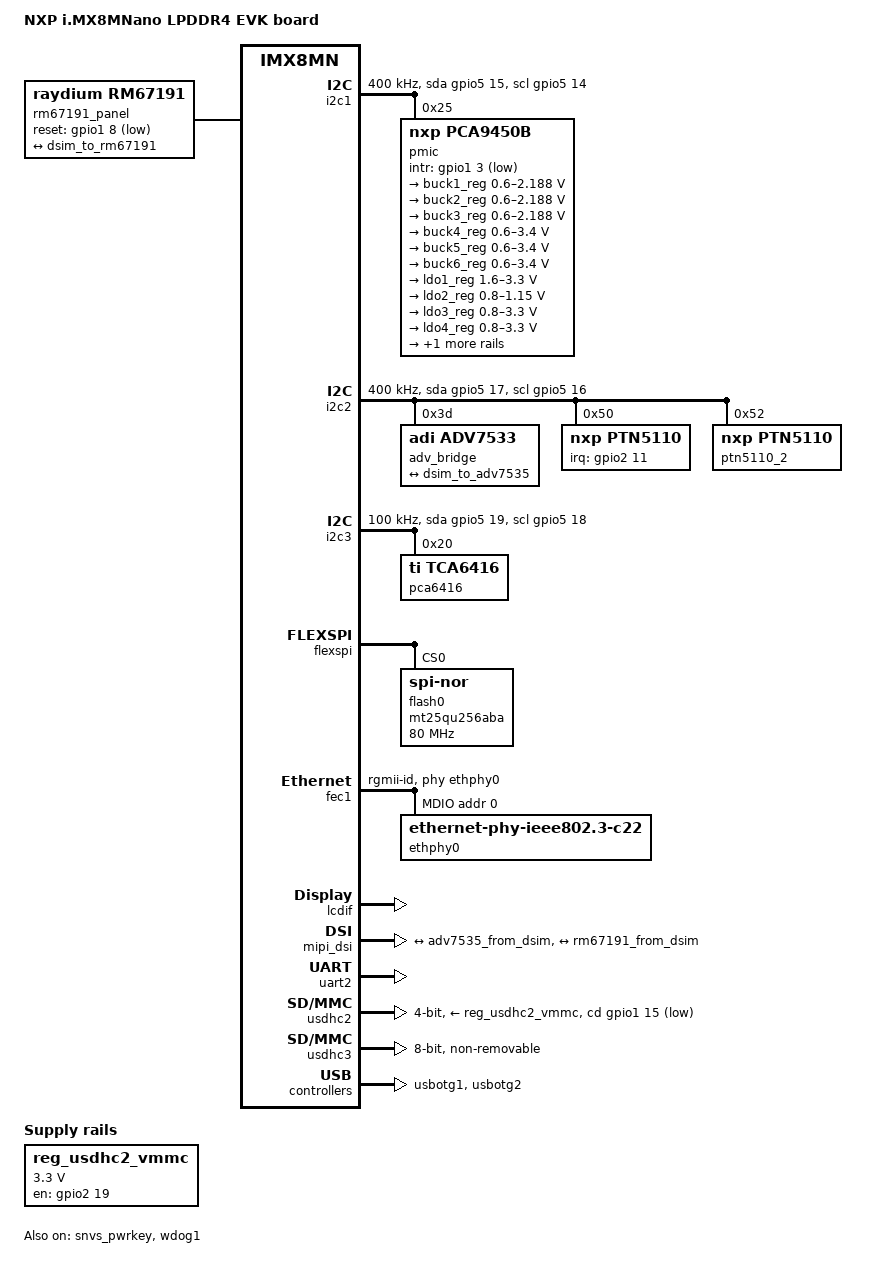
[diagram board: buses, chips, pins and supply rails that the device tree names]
// SPDX-License-Identifier: GPL-2.0+
/*
 * Copyright 2019 NXP
 */

/dts-v1/;

#include <dt-bindings/usb/pd.h>
#include "imx8mn.dtsi"

/ {
	model = "NXP i.MX8MNano LPDDR4 EVK board";
	compatible = "fsl,imx8mn-evk", "fsl,imx8mn";

	chosen {
		bootargs = "console=ttymxc1,115200 earlycon=ec_imx6q,0x30890000,115200";
		stdout-path = &uart2;
	};

	reg_usdhc2_vmmc: regulator-usdhc2 {
		compatible = "regulator-fixed";
		pinctrl-names = "default";
		pinctrl-0 = <&pinctrl_reg_usdhc2_vmmc>;
		regulator-name = "VSD_3V3";
		regulator-min-microvolt = <3300000>;
		regulator-max-microvolt = <3300000>;
		gpio = <&gpio2 19 GPIO_ACTIVE_HIGH>;
		enable-active-high;
		startup-delay-us = <100>;
		off-on-delay-us = <12000>;
	};

	dsi_host: dsi-host {
		compatible = "samsung,sec-mipi-dsi";
		status = "okay";
	};

	rm67191_panel {
		compatible = "raydium,rm67191";
		pinctrl-names = "default";
		pinctrl-0 = <&pinctrl_mipi_dsi_en>;
		reset-gpio = <&gpio1 8 GPIO_ACTIVE_LOW>;
		dsi-lanes = <4>;
		video-mode = <2>;	/* 0: burst mode
					 * 1: non-burst mode with sync event
					 * 2: non-burst mode with sync pulse
					 */
		panel-width-mm = <68>;
		panel-height-mm = <121>;
		status = "okay";

		port {
			rm67191_from_dsim: endpoint {
				remote-endpoint = <&dsim_to_rm67191>;
			};
		};
	};
};

&iomuxc {
	pinctrl-names = "default";
	pinctrl-0 = <&pinctrl_hog_1>;

	imx8mn-evk {
		pinctrl_hog_1: hoggrp-1 {
			fsl,pins = <
				MX8MN_IOMUXC_GPIO1_IO08_GPIO1_IO8		0x16
			>;
		};

		pinctrl_fec1: fec1grp {
			fsl,pins = <
				MX8MN_IOMUXC_ENET_MDC_ENET1_MDC		0x3
				MX8MN_IOMUXC_ENET_MDIO_ENET1_MDIO	0x3
				MX8MN_IOMUXC_ENET_TD3_ENET1_RGMII_TD3	0x1f
				MX8MN_IOMUXC_ENET_TD2_ENET1_RGMII_TD2	0x1f
				MX8MN_IOMUXC_ENET_TD1_ENET1_RGMII_TD1	0x1f
				MX8MN_IOMUXC_ENET_TD0_ENET1_RGMII_TD0	0x1f
				MX8MN_IOMUXC_ENET_RD3_ENET1_RGMII_RD3	0x91
				MX8MN_IOMUXC_ENET_RD2_ENET1_RGMII_RD2	0x91
				MX8MN_IOMUXC_ENET_RD1_ENET1_RGMII_RD1	0x91
				MX8MN_IOMUXC_ENET_RD0_ENET1_RGMII_RD0	0x91
				MX8MN_IOMUXC_ENET_TXC_ENET1_RGMII_TXC	0x1f
				MX8MN_IOMUXC_ENET_RXC_ENET1_RGMII_RXC	0x91
				MX8MN_IOMUXC_ENET_RX_CTL_ENET1_RGMII_RX_CTL	0x91
				MX8MN_IOMUXC_ENET_TX_CTL_ENET1_RGMII_TX_CTL	0x1f
				MX8MN_IOMUXC_SAI2_RXC_GPIO4_IO22	0x19
			>;
		};

		pinctrl_flexspi0: flexspi0grp {
			fsl,pins = <
				MX8MN_IOMUXC_NAND_ALE_QSPI_A_SCLK 0x1c4
				MX8MN_IOMUXC_NAND_CE0_B_QSPI_A_SS0_B 0x84

				MX8MN_IOMUXC_NAND_DQS_QSPI_A_DQS 0x40000084
				MX8MN_IOMUXC_NAND_DATA00_QSPI_A_DATA0 0x84
				MX8MN_IOMUXC_NAND_DATA01_QSPI_A_DATA1 0x84
				MX8MN_IOMUXC_NAND_DATA02_QSPI_A_DATA2 0x84
				MX8MN_IOMUXC_NAND_DATA03_QSPI_A_DATA3 0x84
			>;
		};

		pinctrl_i2c1: i2c1grp {
			fsl,pins = <
				MX8MN_IOMUXC_I2C1_SCL_I2C1_SCL			0x400001c3
				MX8MN_IOMUXC_I2C1_SDA_I2C1_SDA			0x400001c3
			>;
		};

		pinctrl_i2c2: i2c2grp {
			fsl,pins = <
				MX8MN_IOMUXC_I2C2_SCL_I2C2_SCL			0x400001c3
				MX8MN_IOMUXC_I2C2_SDA_I2C2_SDA			0x400001c3
			>;
		};

		pinctrl_i2c3: i2c3grp {
			fsl,pins = <
				MX8MN_IOMUXC_I2C3_SCL_I2C3_SCL			0x400001c3
				MX8MN_IOMUXC_I2C3_SDA_I2C3_SDA			0x400001c3
			>;
		};

		pinctrl_i2c1_gpio: i2c1grp-gpio {
			fsl,pins = <
				MX8MN_IOMUXC_I2C1_SCL_GPIO5_IO14		0x1c3
				MX8MN_IOMUXC_I2C1_SDA_GPIO5_IO15		0x1c3
			>;
		};

		pinctrl_i2c2_gpio: i2c2grp-gpio {
			fsl,pins = <
				MX8MN_IOMUXC_I2C2_SCL_GPIO5_IO16		0x1c3
				MX8MN_IOMUXC_I2C2_SDA_GPIO5_IO17		0x1c3
			>;
		};

		pinctrl_i2c3_gpio: i2c3grp-gpio {
			fsl,pins = <
				MX8MN_IOMUXC_I2C3_SCL_GPIO5_IO18		0x1c3
				MX8MN_IOMUXC_I2C3_SDA_GPIO5_IO19		0x1c3
			>;
		};

		pinctrl_pmic: pmicirq {
			fsl,pins = <
				MX8MN_IOMUXC_GPIO1_IO03_GPIO1_IO3	0x41
			>;
		};
		
		pinctrl_reg_usdhc2_vmmc: regusdhc2vmmc {
			fsl,pins = <
				MX8MN_IOMUXC_SD2_RESET_B_GPIO2_IO19	0x41
			>;
		};

		pinctrl_uart2: uart1grp {
			fsl,pins = <
				MX8MN_IOMUXC_UART2_RXD_UART2_DCE_RX	0x140
				MX8MN_IOMUXC_UART2_TXD_UART2_DCE_TX	0x140
			>;
		};

		pinctrl_typec1: typec1grp {
			fsl,pins = <
				MX8MN_IOMUXC_SD1_STROBE_GPIO2_IO11		0x159
			>;
		};
		
		pinctrl_usdhc2_gpio: usdhc2grpgpio {
			fsl,pins = <
				MX8MN_IOMUXC_GPIO1_IO15_GPIO1_IO15	0x1c4
			>;
		};

		pinctrl_usdhc2: usdhc2grp {
			fsl,pins = <
				MX8MN_IOMUXC_SD2_CLK_USDHC2_CLK		0x190
				MX8MN_IOMUXC_SD2_CMD_USDHC2_CMD		0x1d0
				MX8MN_IOMUXC_SD2_DATA0_USDHC2_DATA0	0x1d0
				MX8MN_IOMUXC_SD2_DATA1_USDHC2_DATA1	0x1d0
				MX8MN_IOMUXC_SD2_DATA2_USDHC2_DATA2	0x1d0
				MX8MN_IOMUXC_SD2_DATA3_USDHC2_DATA3	0x1d0
				MX8MN_IOMUXC_GPIO1_IO04_USDHC2_VSELECT	0x1d0
			>;
		};

		pinctrl_usdhc2_100mhz: usdhc2grp100mhz {
			fsl,pins = <
				MX8MN_IOMUXC_SD2_CLK_USDHC2_CLK		0x194
				MX8MN_IOMUXC_SD2_CMD_USDHC2_CMD		0x1d4
				MX8MN_IOMUXC_SD2_DATA0_USDHC2_DATA0	0x1d4
				MX8MN_IOMUXC_SD2_DATA1_USDHC2_DATA1	0x1d4
				MX8MN_IOMUXC_SD2_DATA2_USDHC2_DATA2	0x1d4
				MX8MN_IOMUXC_SD2_DATA3_USDHC2_DATA3	0x1d4
				MX8MN_IOMUXC_GPIO1_IO04_USDHC2_VSELECT	0x1d0
			>;
		};

		pinctrl_usdhc2_200mhz: usdhc2grp200mhz {
			fsl,pins = <
				MX8MN_IOMUXC_SD2_CLK_USDHC2_CLK		0x196
				MX8MN_IOMUXC_SD2_CMD_USDHC2_CMD		0x1d6
				MX8MN_IOMUXC_SD2_DATA0_USDHC2_DATA0	0x1d6
				MX8MN_IOMUXC_SD2_DATA1_USDHC2_DATA1	0x1d6
				MX8MN_IOMUXC_SD2_DATA2_USDHC2_DATA2	0x1d6
				MX8MN_IOMUXC_SD2_DATA3_USDHC2_DATA3	0x1d6
				MX8MN_IOMUXC_GPIO1_IO04_USDHC2_VSELECT	0x1d0
			>;
		};

		pinctrl_usdhc3: usdhc3grp {
			fsl,pins = <
				MX8MN_IOMUXC_NAND_WE_B_USDHC3_CLK		0x40000190
				MX8MN_IOMUXC_NAND_WP_B_USDHC3_CMD		0x1d0
				MX8MN_IOMUXC_NAND_DATA04_USDHC3_DATA0		0x1d0
				MX8MN_IOMUXC_NAND_DATA05_USDHC3_DATA1		0x1d0
				MX8MN_IOMUXC_NAND_DATA06_USDHC3_DATA2		0x1d0
				MX8MN_IOMUXC_NAND_DATA07_USDHC3_DATA3		0x1d0
				MX8MN_IOMUXC_NAND_RE_B_USDHC3_DATA4		0x1d0
				MX8MN_IOMUXC_NAND_CE2_B_USDHC3_DATA5		0x1d0
				MX8MN_IOMUXC_NAND_CE3_B_USDHC3_DATA6		0x1d0
				MX8MN_IOMUXC_NAND_CLE_USDHC3_DATA7		0x1d0
				MX8MN_IOMUXC_NAND_CE1_B_USDHC3_STROBE 		0x190
			>;
		};

		pinctrl_usdhc3_100mhz: usdhc3grp100mhz {
			fsl,pins = <
				MX8MN_IOMUXC_NAND_WE_B_USDHC3_CLK		0x40000194
				MX8MN_IOMUXC_NAND_WP_B_USDHC3_CMD		0x1d4
				MX8MN_IOMUXC_NAND_DATA04_USDHC3_DATA0		0x1d4
				MX8MN_IOMUXC_NAND_DATA05_USDHC3_DATA1		0x1d4
				MX8MN_IOMUXC_NAND_DATA06_USDHC3_DATA2		0x1d4
				MX8MN_IOMUXC_NAND_DATA07_USDHC3_DATA3		0x1d4
				MX8MN_IOMUXC_NAND_RE_B_USDHC3_DATA4		0x1d4
				MX8MN_IOMUXC_NAND_CE2_B_USDHC3_DATA5		0x1d4
				MX8MN_IOMUXC_NAND_CE3_B_USDHC3_DATA6		0x1d4
				MX8MN_IOMUXC_NAND_CLE_USDHC3_DATA7		0x1d4
				MX8MN_IOMUXC_NAND_CE1_B_USDHC3_STROBE 		0x194
			>;
		};

		pinctrl_usdhc3_200mhz: usdhc3grp200mhz {
			fsl,pins = <
				MX8MN_IOMUXC_NAND_WE_B_USDHC3_CLK		0x40000196
				MX8MN_IOMUXC_NAND_WP_B_USDHC3_CMD		0x1d6
				MX8MN_IOMUXC_NAND_DATA04_USDHC3_DATA0		0x1d6
				MX8MN_IOMUXC_NAND_DATA05_USDHC3_DATA1		0x1d6
				MX8MN_IOMUXC_NAND_DATA06_USDHC3_DATA2		0x1d6
				MX8MN_IOMUXC_NAND_DATA07_USDHC3_DATA3		0x1d6
				MX8MN_IOMUXC_NAND_RE_B_USDHC3_DATA4		0x1d6
				MX8MN_IOMUXC_NAND_CE2_B_USDHC3_DATA5		0x1d6
				MX8MN_IOMUXC_NAND_CE3_B_USDHC3_DATA6		0x1d6
				MX8MN_IOMUXC_NAND_CLE_USDHC3_DATA7		0x1d6
				MX8MN_IOMUXC_NAND_CE1_B_USDHC3_STROBE 		0x196
			>;
		};

		pinctrl_wdog: wdoggrp {
			fsl,pins = <
				MX8MN_IOMUXC_GPIO1_IO02_WDOG1_WDOG_B		0xc6
			>;
		};

		pinctrl_mipi_dsi_en: mipi_dsi_en {
			fsl,pins = <
				MX8MN_IOMUXC_GPIO1_IO08_GPIO1_IO8		0x16
			>;
		};
	};
};

&i2c1 {
	clock-frequency = <400000>;
	pinctrl-names = "default", "gpio";
	pinctrl-0 = <&pinctrl_i2c1>;
	pinctrl-1 = <&pinctrl_i2c1_gpio>;
	scl-gpios = <&gpio5 14 GPIO_ACTIVE_HIGH>;
	sda-gpios = <&gpio5 15 GPIO_ACTIVE_HIGH>;
	status = "okay";

	pmic: pca9450@25 {
		reg = <0x25>;
		compatible = "nxp,pca9450b";
		/* PMIC PCA9450 PMIC_nINT GPIO1_IO3 */
		pinctrl-0 = <&pinctrl_pmic>;
		gpio_intr = <&gpio1 3 GPIO_ACTIVE_LOW>;

		regulators {
			#address-cells = <1>;
			#size-cells = <0>;

			pca9450,pmic-buck2-uses-i2c-dvs;
			/* Run/Standby voltage */
			pca9450,pmic-buck2-dvs-voltage = <950000>, <850000>;

			buck1_reg: regulator@0 {
				reg = <0>;
				regulator-compatible = "buck1";
				regulator-min-microvolt = <600000>;
				regulator-max-microvolt = <2187500>;
				regulator-boot-on;
				regulator-always-on;
				regulator-ramp-delay = <3125>;
			};

			buck2_reg: regulator@1 {
				reg = <1>;
				regulator-compatible = "buck2";
				regulator-min-microvolt = <600000>;
				regulator-max-microvolt = <2187500>;
				regulator-boot-on;
				regulator-always-on;
				regulator-ramp-delay = <3125>;
			};

			buck3_reg: regulator@2 {
				reg = <2>;
				regulator-compatible = "buck3";
				regulator-min-microvolt = <600000>;
				regulator-max-microvolt = <2187500>;
				regulator-boot-on;
				regulator-always-on;
			};

			buck4_reg: regulator@3 {
				reg = <3>;
				regulator-compatible = "buck4";
				regulator-min-microvolt = <600000>;
				regulator-max-microvolt = <3400000>;
				regulator-boot-on;
				regulator-always-on;
			};

			buck5_reg: regulator@4 {
				reg = <4>;
				regulator-compatible = "buck5";
				regulator-min-microvolt = <600000>;
				regulator-max-microvolt = <3400000>;
				regulator-boot-on;
				regulator-always-on;
			};

			buck6_reg: regulator@5 {
				reg = <5>;
				regulator-compatible = "buck6";
				regulator-min-microvolt = <600000>;
				regulator-max-microvolt = <3400000>;
				regulator-boot-on;
				regulator-always-on;
			};

			ldo1_reg: regulator@6 {
				reg = <6>;
				regulator-compatible = "ldo1";
				regulator-min-microvolt = <1600000>;
				regulator-max-microvolt = <3300000>;
				regulator-boot-on;
				regulator-always-on;
			};

			ldo2_reg: regulator@7 {
				reg = <7>;
				regulator-compatible = "ldo2";
				regulator-min-microvolt = <800000>;
				regulator-max-microvolt = <1150000>;
				regulator-boot-on;
				regulator-always-on;
			};

			ldo3_reg: regulator@8 {
				reg = <8>;
				regulator-compatible = "ldo3";
				regulator-min-microvolt = <800000>;
				regulator-max-microvolt = <3300000>;
				regulator-boot-on;
				regulator-always-on;
			};

			ldo4_reg: regulator@9 {
				reg = <9>;
				regulator-compatible = "ldo4";
				regulator-min-microvolt = <800000>;
				regulator-max-microvolt = <3300000>;
				regulator-boot-on;
				regulator-always-on;
			};

			ldo5_reg: regulator@10 {
				reg = <10>;
				regulator-compatible = "ldo5";
				regulator-min-microvolt = <1800000>;
				regulator-max-microvolt = <3300000>;
			};

		};
	};
};

&i2c2 {
	clock-frequency = <400000>;
	pinctrl-names = "default", "gpio";
	pinctrl-0 = <&pinctrl_i2c2>;
	pinctrl-1 = <&pinctrl_i2c2_gpio>;
	scl-gpios = <&gpio5 16 GPIO_ACTIVE_HIGH>;
	sda-gpios = <&gpio5 17 GPIO_ACTIVE_HIGH>;
	status = "okay";

	adv_bridge: adv7535@3d {
		compatible = "adi,adv7533";
		reg = <0x3d>;
		adi,addr-cec = <0x3c>;
		adi,dsi-lanes = <4>;
		status = "okay";

		port {
			adv7535_from_dsim: endpoint {
				remote-endpoint = <&dsim_to_adv7535>;
			};
		};
	};

	ptn5110: tcpc@50 {
		compatible = "nxp,ptn5110";
		pinctrl-names = "default";
		pinctrl-0 = <&pinctrl_typec1>;
		reg = <0x50>;
		interrupt-parent = <&gpio2>;
		interrupts = <11 8>;
		status = "okay";

		typec1_con: connector {
			compatible = "usb-c-connector";
			label = "USB-C";
			power-role = "dual";
			data-role = "dual";
			try-power-role = "sink";
			source-pdos = <PDO_FIXED(5000, 3000, PDO_FIXED_USB_COMM)>;
			sink-pdos = <PDO_FIXED(5000, 3000, PDO_FIXED_USB_COMM)
				     PDO_VAR(5000, 20000, 3000)>;
			op-sink-microwatt = <15000000>;
			self-powered;
		};
	};

	ptn5110_2: tcpc@52 {
		compatible = "nxp,ptn5110";
		reg = <0x52>;
		status = "okay";

		typec2_con: connector {
			compatible = "usb-c-connector";
			label = "USB-C";
			power-role = "dual";
			data-role = "dual";
			try-power-role = "sink";
			source-pdos = <PDO_FIXED(5000, 3000, PDO_FIXED_USB_COMM)>;
			sink-pdos = <PDO_FIXED(5000, 3000, PDO_FIXED_USB_COMM)
				     PDO_VAR(5000, 20000, 3000)>;
			op-sink-microwatt = <15000000>;
			self-powered;
		};
	};
};

&i2c3 {
	clock-frequency = <100000>;
	pinctrl-names = "default", "gpio";
	pinctrl-0 = <&pinctrl_i2c3>;
	pinctrl-1 = <&pinctrl_i2c3_gpio>;
	scl-gpios = <&gpio5 18 GPIO_ACTIVE_HIGH>;
	sda-gpios = <&gpio5 19 GPIO_ACTIVE_HIGH>;
	status = "okay";

	pca6416: gpio@20 {
		compatible = "ti,tca6416";
		reg = <0x20>;
		gpio-controller;
		#gpio-cells = <2>;
	};
};

&flexspi {
	pinctrl-names = "default";
	pinctrl-0 = <&pinctrl_flexspi0>;
	status = "okay";

	flash0: mt25qu256aba@0 {
		reg = <0>;
		compatible = "jedec,spi-nor";
		spi-max-frequency = <80000000>;
		spi-tx-bus-width = <4>;
		spi-rx-bus-width = <4>;
	};
};

&fec1 {
	pinctrl-names = "default";
	pinctrl-0 = <&pinctrl_fec1>;
	phy-mode = "rgmii-id";
	phy-handle = <&ethphy0>;
	fsl,magic-packet;
	status = "okay";

	mdio {
		#address-cells = <1>;
		#size-cells = <0>;

		ethphy0: ethernet-phy@0 {
			compatible = "ethernet-phy-ieee802.3-c22";
			reg = <0>;
			at803x,led-act-blind-workaround;
			at803x,eee-disabled;
			at803x,vddio-1p8v;
		};
	};
};

&lcdif {
	display = <&display0>;
	status = "okay";

	display0: display@0 {
		bits-per-pixel = <24>;
		bus-width = <24>;
	};
};

&mipi_dsi {
	status = "okay";

	port@1 {
		dsim_to_adv7535: endpoint {
			remote-endpoint = <&adv7535_from_dsim>;
		};
	};

	port@2 {
		dsim_to_rm67191: endpoint {
			remote-endpoint = <&rm67191_from_dsim>;
		};
	};
};

&snvs_pwrkey {
	status = "okay";
};

&uart2 { /* console */
	pinctrl-names = "default";
	pinctrl-0 = <&pinctrl_uart2>;
	status = "okay";
};

&usdhc2 {
	pinctrl-names = "default", "state_100mhz", "state_200mhz";
	pinctrl-0 = <&pinctrl_usdhc2>, <&pinctrl_usdhc2_gpio>;
	pinctrl-1 = <&pinctrl_usdhc2_100mhz>, <&pinctrl_usdhc2_gpio>;
	pinctrl-2 = <&pinctrl_usdhc2_200mhz>, <&pinctrl_usdhc2_gpio>;
	cd-gpios = <&gpio1 15 GPIO_ACTIVE_LOW>;
	bus-width = <4>;
	vmmc-supply = <&reg_usdhc2_vmmc>;
	status = "okay";
};

&usdhc3 {
	pinctrl-names = "default", "state_100mhz", "state_200mhz";
	pinctrl-0 = <&pinctrl_usdhc3>;
	pinctrl-1 = <&pinctrl_usdhc3_100mhz>;
	pinctrl-2 = <&pinctrl_usdhc3_200mhz>;
	bus-width = <8>;
	non-removable;
	status = "okay";
};

&wdog1 {
	pinctrl-names = "default";
	pinctrl-0 = <&pinctrl_wdog>;
	fsl,ext-reset-output;
	status = "okay";
};

&usbotg1 {
	status = "okay";
	extcon = <&ptn5110>;
};

&usbotg2 {
	status = "okay";
	extcon = <&ptn5110_2>;
};
